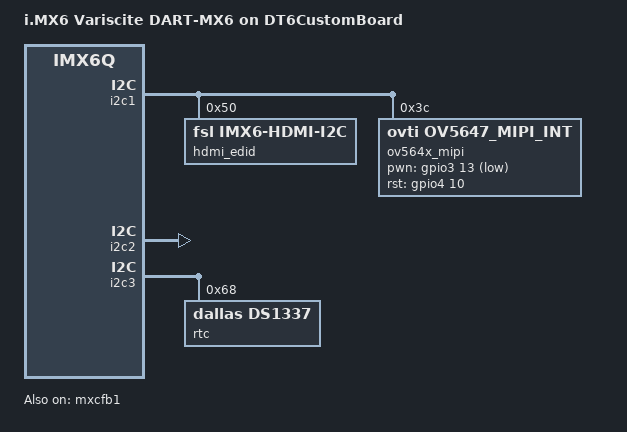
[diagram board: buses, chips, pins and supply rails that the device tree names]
/*
 * Copyright (C) 2015-2017 Variscite Ltd.
 * Copyright (C) 2015-2017 Voipac.
 *
 * The code contained herein is licensed under the GNU General Public
 * License. You may obtain a copy of the GNU General Public License
 * Version 2 or later at the following locations:
 *
 * http://www.opensource.org/licenses/gpl-license.html
 * http://www.gnu.org/copyleft/gpl.html
 */

/dts-v1/;

#include "imx6q.dtsi"
#include "imx6qdl-dart-dt6c.dtsi"

/ {
	model = "i.MX6 Variscite DART-MX6 on DT6CustomBoard";
	compatible = "fsl,imx6qdl-dart-dt6c", "fsl,imx6q";
};

&i2c1 {

	hdmi_edid: edid@50 {
		compatible = "fsl,imx6-hdmi-i2c";
		reg = <0x50>;
	};

	ov564x_mipi: ov564x_mipi@3c {
		compatible = "ovti,ov5647_mipi_int";
		reg = <0x3c>;
		clocks = <&clks 200>;
		clock-names = "csi_mclk";
		pwn-gpios = <&gpio3 13 1>;
		rst-gpios = <&gpio4 10 0>;
		csi_id = <1>;
		mclk = <24000000>;
		mclk_source = <0>;
	};
};

&i2c2 {
	status = "okay";
};

&i2c3 {
	/* DS1337 RTC module */
	rtc@0x68 {
		compatible = "dallas,ds1337";
		reg = <0x68>;
	};
};

&ldb {
	status = "disabled";
};

&mxcfb1 {
	status = "okay";
};

&mxcfb2 {
	status = "disabled";
};

&mxcfb3 {
	status = "disabled";
};

&mxcfb4 {
	status = "disabled";
};
